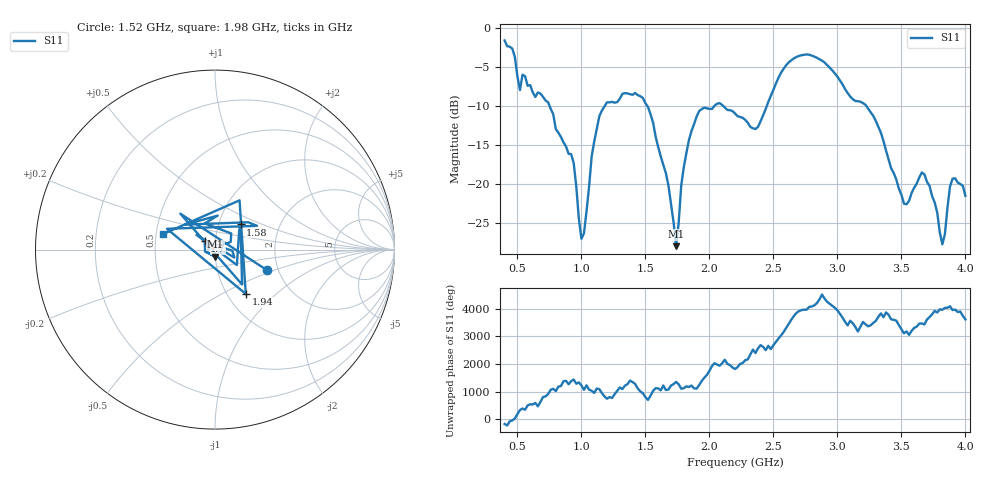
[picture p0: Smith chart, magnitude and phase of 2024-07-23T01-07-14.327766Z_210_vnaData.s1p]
!Created with skrf (http://scikit-rf.org).
# Hz S RI R 50.0
!freq ReS11 ImS11
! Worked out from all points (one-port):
!   181 points, 400 MHz to 4 GHz, reference 50 ohm
!   lowest |S11| = -28.0 dB at 1.74 GHz (marker M1), VSWR 1.08, Z = 50 - j3.98 ohm
!   |S11| at or under -10 dB: 750.3 MHz to 1.184 GHz (434 MHz wide, 44.9 % of centre); 1.513 GHz to 2.041 GHz (527.7 MHz wide, 29.7 % of centre); 3.224 GHz to end of sweep (the widest 3 of 4)
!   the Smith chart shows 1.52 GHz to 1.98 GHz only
!   S11 on the Smith chart (normalised r, x): 1.52 GHz: 1.74, -0.44; 1.58 GHz: 1.27, +0.37; 1.7 GHz: 0.89, +0.08; 1.94 GHz: 1.22, -0.66; 1.98 GHz: 0.54, +0.10
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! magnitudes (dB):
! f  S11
! 400 MHz  -1.6
! 460 MHz  -2.7
! 520 MHz  -8.0
! 740 MHz  -9.6
! 860 MHz  -14.7
! 940 MHz  -17.4
! 1 GHz  -27.1
! 1.14 GHz  -11.4
! 1.3 GHz  -9.1
! 1.52 GHz  -10.2
! 1.58 GHz  -14.0
! 1.7 GHz  -22.6
! 1.74 GHz  -28.0
! 1.76 GHz  -25.0
! 1.84 GHz  -14.4
! 1.94 GHz  -10.4
! 1.98 GHz  -10.3
! 2.2 GHz  -11.0
! 2.38 GHz  -12.7
! 2.66 GHz  -3.9
! 2.88 GHz  -4.2
! 3.1 GHz  -8.8
! 3.28 GHz  -11.3
! 3.56 GHz  -22.2
! 3.68 GHz  -18.8
! 3.82 GHz  -27.8
! 3.9 GHz  -19.4
! 4 GHz  -21.6
